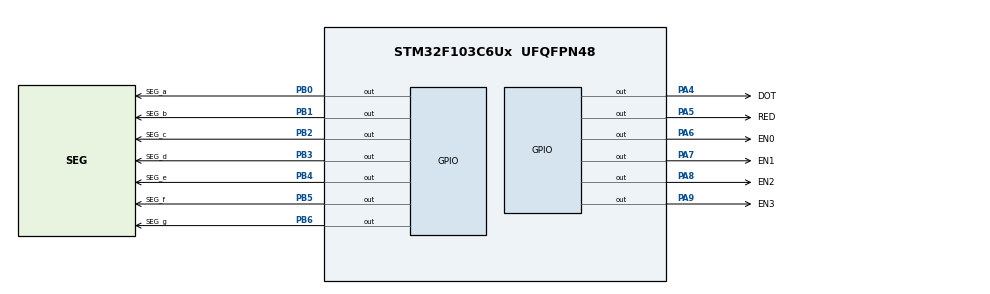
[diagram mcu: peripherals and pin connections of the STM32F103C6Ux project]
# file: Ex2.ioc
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Mcu.Family=STM32F1
Mcu.Name=STM32F103C6Ux
Mcu.Package=UFQFPN48
NVIC.PriorityGroup=NVIC_PRIORITYGROUP_4
NVIC.TIM2_IRQn=true\:0\:0\:false\:false\:true\:true\:true
PA4.GPIO_Label=DOT
PA4.Signal=GPIO_Output
PA5.GPIO_Label=RED
PA5.Signal=GPIO_Output
PA6.GPIO_Label=EN0
PA6.Signal=GPIO_Output
PA7.GPIO_Label=EN1
PA7.Signal=GPIO_Output
PA8.GPIO_Label=EN2
PA8.Signal=GPIO_Output
PA9.GPIO_Label=EN3
PA9.Signal=GPIO_Output
PB0.GPIO_Label=SEG_a
PB0.Signal=GPIO_Output
PB1.GPIO_Label=SEG_b
PB1.Signal=GPIO_Output
PB2.GPIO_Label=SEG_c
PB2.Signal=GPIO_Output
PB3.GPIO_Label=SEG_d
PB3.Signal=GPIO_Output
PB4.GPIO_Label=SEG_e
PB4.Signal=GPIO_Output
PB5.GPIO_Label=SEG_f
PB5.Signal=GPIO_Output
PB6.GPIO_Label=SEG_g
PB6.Signal=GPIO_Output
ProjectManager.HeapSize=0x200
ProjectManager.StackSize=0x400
ProjectManager.TargetToolchain=STM32CubeIDE
RCC.APB1Freq_Value=8000000
RCC.APB2Freq_Value=8000000
TIM2.Period=9
TIM2.Prescaler=7999
VP_SYS_VS_ND.Mode=No_Debug
VP_TIM2_VS_ClockSourceINT.Mode=Internal
board=custom

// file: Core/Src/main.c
/* USER CODE BEGIN Header */
/**
  ******************************************************************************
  * @file           : main.c
  * @brief          : Main program body
  ******************************************************************************
  * @attention
  *
  * <h2><center>&copy; Copyright (c) 2022 STMicroelectronics.
  * All rights reserved.</center></h2>
  *
  * This software component is licensed by ST under BSD 3-Clause license,
  * the "License"; You may not use this file except in compliance with the
  * License. You may obtain a copy of the License at:
  *                        opensource.org/licenses/BSD-3-Clause
  *
  ******************************************************************************
  */
/* USER CODE END Header */
#include "main.h"

TIM_HandleTypeDef htim2;

void SystemClock_Config(void);
static void MX_GPIO_Init(void);
static void MX_TIM2_Init(void);

/* USER CODE BEGIN 0 */
void display7SEG(int num){
	  if(num == 0){
		  HAL_GPIO_WritePin(SEG_a_GPIO_Port, SEG_a_Pin, RESET);
		  HAL_GPIO_WritePin(SEG_b_GPIO_Port, SEG_b_Pin, RESET);
		  HAL_GPIO_WritePin(SEG_c_GPIO_Port, SEG_c_Pin, RESET);
		  HAL_GPIO_WritePin(SEG_d_GPIO_Port, SEG_d_Pin, RESET);
		  HAL_GPIO_WritePin(SEG_e_GPIO_Port, SEG_e_Pin, RESET);
		  HAL_GPIO_WritePin(SEG_f_GPIO_Port, SEG_f_Pin, RESET);
		  HAL_GPIO_WritePin(SEG_g_GPIO_Port, SEG_g_Pin, SET);
	  }
	  if(num == 1){
		  HAL_GPIO_WritePin(SEG_a_GPIO_Port, SEG_a_Pin, SET);
		  HAL_GPIO_WritePin(SEG_b_GPIO_Port, SEG_b_Pin, RESET);
		  HAL_GPIO_WritePin(SEG_c_GPIO_Port, SEG_c_Pin, RESET);
		  HAL_GPIO_WritePin(SEG_d_GPIO_Port, SEG_d_Pin, SET);
		  HAL_GPIO_WritePin(SEG_e_GPIO_Port, SEG_e_Pin, SET);
		  HAL_GPIO_WritePin(SEG_f_GPIO_Port, SEG_f_Pin, SET);
		  HAL_GPIO_WritePin(SEG_g_GPIO_Port, SEG_g_Pin, SET);
	  }
	  if(num == 2){
		  HAL_GPIO_WritePin(SEG_a_GPIO_Port, SEG_a_Pin, RESET);
		  HAL_GPIO_WritePin(SEG_b_GPIO_Port, SEG_b_Pin, RESET);
		  HAL_GPIO_WritePin(SEG_c_GPIO_Port, SEG_c_Pin, SET);
		  HAL_GPIO_WritePin(SEG_d_GPIO_Port, SEG_d_Pin, RESET);
		  HAL_GPIO_WritePin(SEG_e_GPIO_Port, SEG_e_Pin, RESET);
		  HAL_GPIO_WritePin(SEG_f_GPIO_Port, SEG_f_Pin, SET);
		  HAL_GPIO_WritePin(SEG_g_GPIO_Port, SEG_g_Pin, RESET);
	  }
	  if(num == 3){
		  HAL_GPIO_WritePin(SEG_a_GPIO_Port, SEG_a_Pin, RESET);
		  HAL_GPIO_WritePin(SEG_b_GPIO_Port, SEG_b_Pin, RESET);
		  HAL_GPIO_WritePin(SEG_c_GPIO_Port, SEG_c_Pin, RESET);
		  HAL_GPIO_WritePin(SEG_d_GPIO_Port, SEG_d_Pin, RESET);
		  HAL_GPIO_WritePin(SEG_e_GPIO_Port, SEG_e_Pin, SET);
		  HAL_GPIO_WritePin(SEG_f_GPIO_Port, SEG_f_Pin, SET);
		  HAL_GPIO_WritePin(SEG_g_GPIO_Port, SEG_g_Pin, RESET);
	  }
	  if(num == 4){
		  HAL_GPIO_WritePin(SEG_a_GPIO_Port, SEG_a_Pin, SET);
		  HAL_GPIO_WritePin(SEG_b_GPIO_Port, SEG_b_Pin, RESET);
		  HAL_GPIO_WritePin(SEG_c_GPIO_Port, SEG_c_Pin, RESET);
		  HAL_GPIO_WritePin(SEG_d_GPIO_Port, SEG_d_Pin, SET);
		  HAL_GPIO_WritePin(SEG_e_GPIO_Port, SEG_e_Pin, SET);
		  HAL_GPIO_WritePin(SEG_f_GPIO_Port, SEG_f_Pin, RESET);
		  HAL_GPIO_WritePin(SEG_g_GPIO_Port, SEG_g_Pin, RESET);
	  }
	  if(num == 5){
		  HAL_GPIO_WritePin(SEG_a_GPIO_Port, SEG_a_Pin, RESET);
		  HAL_GPIO_WritePin(SEG_b_GPIO_Port, SEG_b_Pin, SET);
		  HAL_GPIO_WritePin(SEG_c_GPIO_Port, SEG_c_Pin, RESET);
		  HAL_GPIO_WritePin(SEG_d_GPIO_Port, SEG_d_Pin, RESET);
		  HAL_GPIO_WritePin(SEG_e_GPIO_Port, SEG_e_Pin, SET);
		  HAL_GPIO_WritePin(SEG_f_GPIO_Port, SEG_f_Pin, RESET);
		  HAL_GPIO_WritePin(SEG_g_GPIO_Port, SEG_g_Pin, RESET);
	  }
	  if(num == 6){
		  HAL_GPIO_WritePin(SEG_a_GPIO_Port, SEG_a_Pin, RESET);
		  HAL_GPIO_WritePin(SEG_b_GPIO_Port, SEG_b_Pin, SET);
		  HAL_GPIO_WritePin(SEG_c_GPIO_Port, SEG_c_Pin, RESET);
		  HAL_GPIO_WritePin(SEG_d_GPIO_Port, SEG_d_Pin, RESET);
		  HAL_GPIO_WritePin(SEG_e_GPIO_Port, SEG_e_Pin, RESET);
		  HAL_GPIO_WritePin(SEG_f_GPIO_Port, SEG_f_Pin, RESET);
		  HAL_GPIO_WritePin(SEG_g_GPIO_Port, SEG_g_Pin, RESET);
	  }
	  if(num == 7){
		  HAL_GPIO_WritePin(SEG_a_GPIO_Port, SEG_a_Pin, RESET);
		  HAL_GPIO_WritePin(SEG_b_GPIO_Port, SEG_b_Pin, RESET);
		  HAL_GPIO_WritePin(SEG_c_GPIO_Port, SEG_c_Pin, RESET);
		  HAL_GPIO_WritePin(SEG_d_GPIO_Port, SEG_d_Pin, SET);
		  HAL_GPIO_WritePin(SEG_e_GPIO_Port, SEG_e_Pin, SET);
		  HAL_GPIO_WritePin(SEG_f_GPIO_Port, SEG_f_Pin, SET);
		  HAL_GPIO_WritePin(SEG_g_GPIO_Port, SEG_g_Pin, SET);
	  }
	  if(num == 8){
		  HAL_GPIO_WritePin(SEG_a_GPIO_Port, SEG_a_Pin, RESET);
		  HAL_GPIO_WritePin(SEG_b_GPIO_Port, SEG_b_Pin, RESET);
		  HAL_GPIO_WritePin(SEG_c_GPIO_Port, SEG_c_Pin, RESET);
		  HAL_GPIO_WritePin(SEG_d_GPIO_Port, SEG_d_Pin, RESET);
		  HAL_GPIO_WritePin(SEG_e_GPIO_Port, SEG_e_Pin, RESET);
		  HAL_GPIO_WritePin(SEG_f_GPIO_Port, SEG_f_Pin, RESET);
		  HAL_GPIO_WritePin(SEG_g_GPIO_Port, SEG_g_Pin, RESET);
	  }
	  if(num == 9){
		  HAL_GPIO_WritePin(SEG_a_GPIO_Port, SEG_a_Pin, RESET);
		  HAL_GPIO_WritePin(SEG_b_GPIO_Port, SEG_b_Pin, RESET);
		  HAL_GPIO_WritePin(SEG_c_GPIO_Port, SEG_c_Pin, RESET);
		  HAL_GPIO_WritePin(SEG_d_GPIO_Port, SEG_d_Pin, RESET);
		  HAL_GPIO_WritePin(SEG_e_GPIO_Port, SEG_e_Pin, SET);
		  HAL_GPIO_WritePin(SEG_f_GPIO_Port, SEG_f_Pin, RESET);
		  HAL_GPIO_WritePin(SEG_g_GPIO_Port, SEG_g_Pin, RESET);
	  }
}
/* USER CODE END 0 */

int main(void)
{

  /* MCU Configuration--------------------------------------------------------*/

  /* Reset of all peripherals, Initializes the Flash interface and the Systick. */
  HAL_Init();

  /* Configure the system clock */
  SystemClock_Config();

  /* Initialize all configured peripherals */
  MX_GPIO_Init();
  MX_TIM2_Init();
  /* USER CODE BEGIN 2 */
  HAL_TIM_Base_Start_IT(&htim2);
  /* USER CODE END 2 */

  /* Infinite loop */
  while (1)
  {

  }
}

void SystemClock_Config(void)
{
  RCC_OscInitTypeDef RCC_OscInitStruct = {0};
  RCC_ClkInitTypeDef RCC_ClkInitStruct = {0};

  /** Initializes the RCC Oscillators according to the specified parameters
  * in the RCC_OscInitTypeDef structure.
  */
  RCC_OscInitStruct.OscillatorType = RCC_OSCILLATORTYPE_HSI;
  RCC_OscInitStruct.HSIState = RCC_HSI_ON;
  RCC_OscInitStruct.HSICalibrationValue = RCC_HSICALIBRATION_DEFAULT;
  RCC_OscInitStruct.PLL.PLLState = RCC_PLL_NONE;
  if (HAL_RCC_OscConfig(&RCC_OscInitStruct) != HAL_OK)
  {
    Error_Handler();
  }
  /** Initializes the CPU, AHB and APB buses clocks
  */
  RCC_ClkInitStruct.ClockType = RCC_CLOCKTYPE_HCLK|RCC_CLOCKTYPE_SYSCLK
                              |RCC_CLOCKTYPE_PCLK1|RCC_CLOCKTYPE_PCLK2;
  RCC_ClkInitStruct.SYSCLKSource = RCC_SYSCLKSOURCE_HSI;
  RCC_ClkInitStruct.AHBCLKDivider = RCC_SYSCLK_DIV1;
  RCC_ClkInitStruct.APB1CLKDivider = RCC_HCLK_DIV1;
  RCC_ClkInitStruct.APB2CLKDivider = RCC_HCLK_DIV1;

  if (HAL_RCC_ClockConfig(&RCC_ClkInitStruct, FLASH_LATENCY_0) != HAL_OK)
  {
    Error_Handler();
  }
}

static void MX_TIM2_Init(void)
{

  TIM_ClockConfigTypeDef sClockSourceConfig = {0};
  TIM_MasterConfigTypeDef sMasterConfig = {0};

  htim2.Instance = TIM2;
  htim2.Init.Prescaler = 7999;
  htim2.Init.CounterMode = TIM_COUNTERMODE_UP;
  htim2.Init.Period = 9;
  htim2.Init.ClockDivision = TIM_CLOCKDIVISION_DIV1;
  htim2.Init.AutoReloadPreload = TIM_AUTORELOAD_PRELOAD_DISABLE;
  if (HAL_TIM_Base_Init(&htim2) != HAL_OK)
  {
    Error_Handler();
  }
  sClockSourceConfig.ClockSource = TIM_CLOCKSOURCE_INTERNAL;
  if (HAL_TIM_ConfigClockSource(&htim2, &sClockSourceConfig) != HAL_OK)
  {
    Error_Handler();
  }
  sMasterConfig.MasterOutputTrigger = TIM_TRGO_RESET;
  sMasterConfig.MasterSlaveMode = TIM_MASTERSLAVEMODE_DISABLE;
  if (HAL_TIMEx_MasterConfigSynchronization(&htim2, &sMasterConfig) != HAL_OK)
  {
    Error_Handler();
  }

}

static void MX_GPIO_Init(void)
{
  GPIO_InitTypeDef GPIO_InitStruct = {0};

  /* GPIO Ports Clock Enable */
  __HAL_RCC_GPIOA_CLK_ENABLE();
  __HAL_RCC_GPIOB_CLK_ENABLE();

  /*Configure GPIO pin Output Level */
  HAL_GPIO_WritePin(GPIOA, DOT_Pin|RED_Pin|EN0_Pin|EN1_Pin
                          |EN2_Pin|EN3_Pin, GPIO_PIN_RESET);

  /*Configure GPIO pin Output Level */
  HAL_GPIO_WritePin(GPIOB, SEG_a_Pin|SEG_b_Pin|SEG_c_Pin|SEG_d_Pin
                          |SEG_e_Pin|SEG_f_Pin|SEG_g_Pin, GPIO_PIN_RESET);

  /*Configure GPIO pins : DOT_Pin RED_Pin EN0_Pin EN1_Pin
                           EN2_Pin EN3_Pin */
  GPIO_InitStruct.Pin = DOT_Pin|RED_Pin|EN0_Pin|EN1_Pin
                          |EN2_Pin|EN3_Pin;
  GPIO_InitStruct.Mode = GPIO_MODE_OUTPUT_PP;
  GPIO_InitStruct.Pull = GPIO_NOPULL;
  GPIO_InitStruct.Speed = GPIO_SPEED_FREQ_LOW;
  HAL_GPIO_Init(GPIOA, &GPIO_InitStruct);

  /*Configure GPIO pins : SEG_a_Pin SEG_b_Pin SEG_c_Pin SEG_d_Pin
                           SEG_e_Pin SEG_f_Pin SEG_g_Pin */
  GPIO_InitStruct.Pin = SEG_a_Pin|SEG_b_Pin|SEG_c_Pin|SEG_d_Pin
                          |SEG_e_Pin|SEG_f_Pin|SEG_g_Pin;
  GPIO_InitStruct.Mode = GPIO_MODE_OUTPUT_PP;
  GPIO_InitStruct.Pull = GPIO_NOPULL;
  GPIO_InitStruct.Speed = GPIO_SPEED_FREQ_LOW;
  HAL_GPIO_Init(GPIOB, &GPIO_InitStruct);

}

/* USER CODE BEGIN 4 */
int counter = 100;
int ledNumber = 0;
void HAL_TIM_PeriodElapsedCallback(TIM_HandleTypeDef * htim){
	counter--;
	/* calculate led number to enable 7-segment Led every 0.5s */
	if(counter%50 == 0){
		ledNumber++;
		ledNumber = ledNumber%4;
		/* Turn on the appropriate led */
		switch(ledNumber){
		case 0:{
			HAL_GPIO_WritePin(EN1_GPIO_Port, EN1_Pin, SET);
			HAL_GPIO_WritePin(EN2_GPIO_Port, EN2_Pin, SET);
			HAL_GPIO_WritePin(EN3_GPIO_Port, EN3_Pin, SET);
			display7SEG(1);
			HAL_GPIO_WritePin(EN0_GPIO_Port, EN0_Pin, RESET);
			break;
		}
		case 1:{
			HAL_GPIO_WritePin(EN0_GPIO_Port, EN0_Pin, SET);
			HAL_GPIO_WritePin(EN2_GPIO_Port, EN2_Pin, SET);
			HAL_GPIO_WritePin(EN3_GPIO_Port, EN3_Pin, SET);
			display7SEG(2);
			HAL_GPIO_WritePin(EN1_GPIO_Port, EN1_Pin, RESET);
			break;
		}
		case 2:{
			HAL_GPIO_WritePin(EN0_GPIO_Port, EN0_Pin, SET);
			HAL_GPIO_WritePin(EN1_GPIO_Port, EN1_Pin, SET);
			HAL_GPIO_WritePin(EN3_GPIO_Port, EN3_Pin, SET);
			display7SEG(3);
			HAL_GPIO_WritePin(EN2_GPIO_Port, EN2_Pin, RESET);
			break;
		}
		case 3:{
			HAL_GPIO_WritePin(EN0_GPIO_Port, EN0_Pin, SET);
			HAL_GPIO_WritePin(EN1_GPIO_Port, EN1_Pin, SET);
			HAL_GPIO_WritePin(EN2_GPIO_Port, EN2_Pin, SET);
			display7SEG(0);
			HAL_GPIO_WritePin(EN3_GPIO_Port, EN3_Pin, RESET);
			break;
		}
		}
	if(counter <= 0){
		counter = 100;
		/*Toggle 2-Led and Red-led every second*/
		HAL_GPIO_TogglePin(DOT_GPIO_Port, DOT_Pin);
		HAL_GPIO_TogglePin(RED_GPIO_Port, RED_Pin);
	}
	}
}
/* USER CODE END 4 */

void Error_Handler(void)
{
  __disable_irq();
  while (1)
  {
  }
}

/************************ (C) COPYRIGHT STMicroelectronics *****END OF FILE****/
